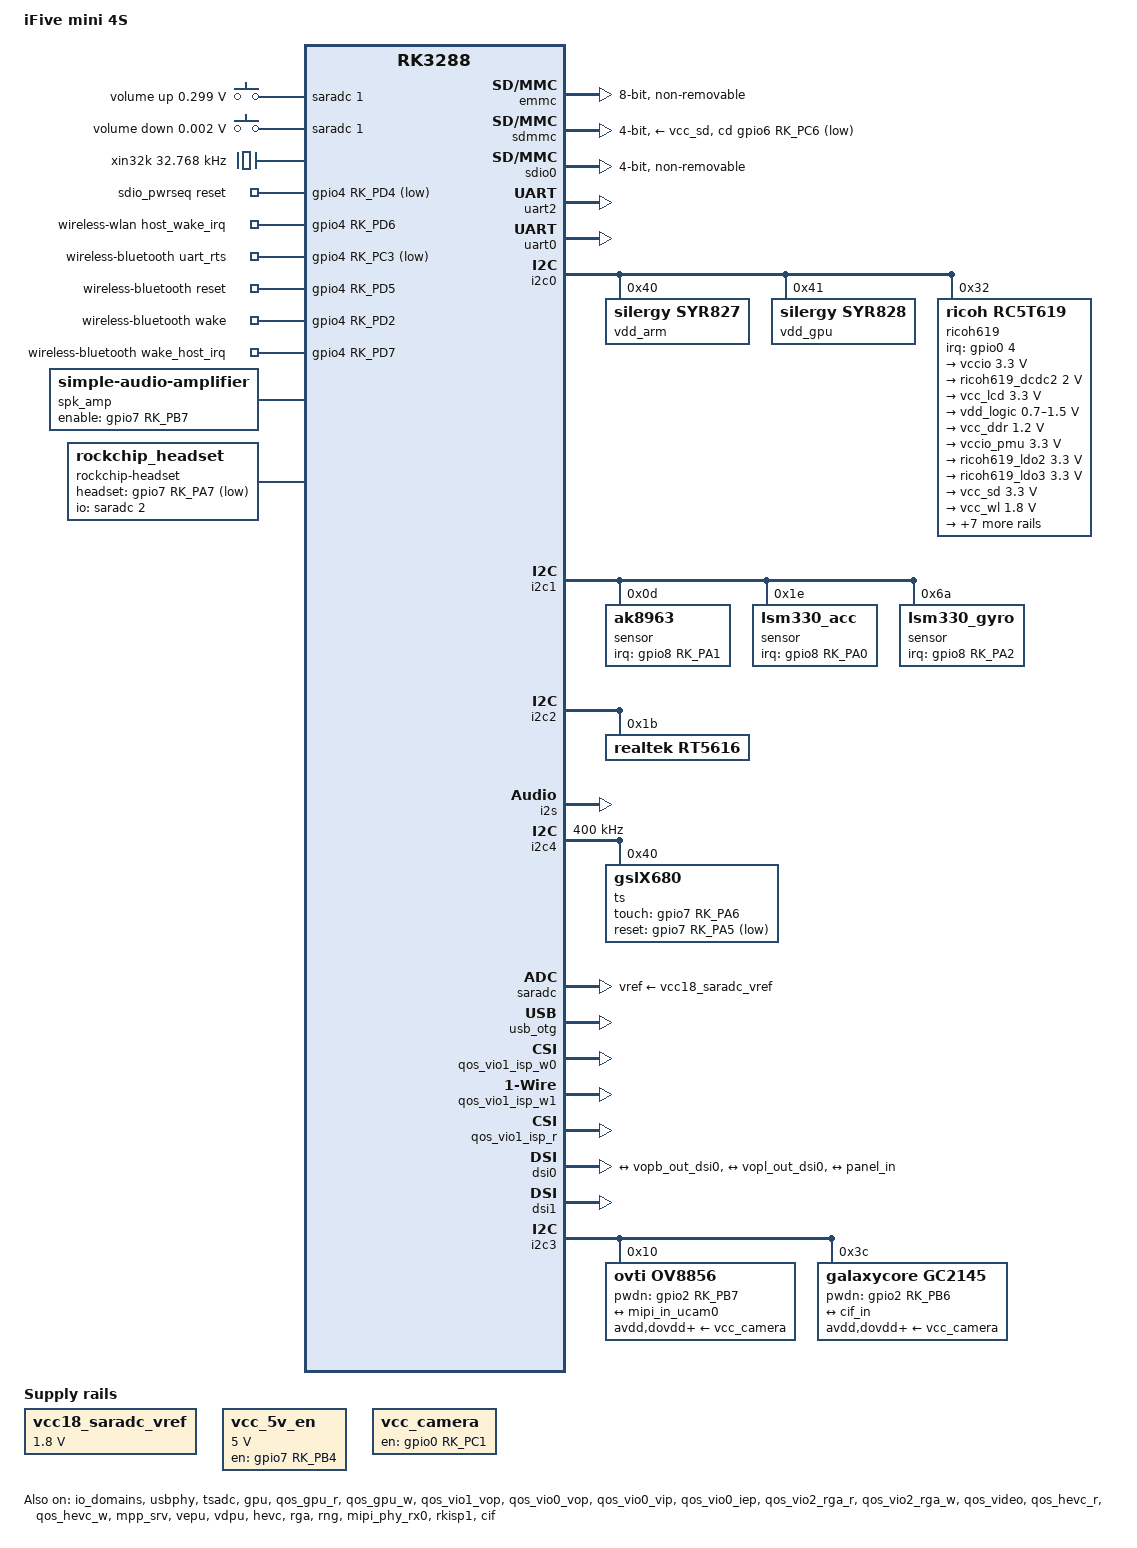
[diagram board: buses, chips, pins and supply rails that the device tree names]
// SPDX-License-Identifier: (GPL-2.0+ OR MIT)
/*
 * iFive mini 4S - Rockchip RK3288 tablet board
 *
 * Covers the board wiring the tablet needs: serial console, eMMC, PMIC,
 * USB, display (via rk3288-ifive-mini4s-display.dtsi), touch, keys, the
 * SAR ADC keypad and the AP6255 SDIO Wi-Fi.
 */

/dts-v1/;

#include <dt-bindings/gpio/gpio.h>
#include <dt-bindings/input/input.h>
#include <dt-bindings/pinctrl/rockchip.h>
#include <dt-bindings/interrupt-controller/irq.h>
#include <dt-bindings/sensor-dev.h>
#include "rk3288.dtsi"
#include "rk3288-ifive-mini4s-display.dtsi"

/ {
	model = "iFive mini 4S";
	compatible = "ifive,ifive-mini4s", "rockchip,rk3288";

	/*
	 * Stock mmc numbering.  Without mmcN aliases the host index follows
	 * probe (DT) order, so enabling sdmmc/sdio0 (below ff0f0000) turns the
	 * eMMC into mmcblk1 and blkdevparts=mmcblk0 / rkdump stop matching.
	 */
	aliases {
		mmc0 = &emmc;
		mmc1 = &sdmmc;
		mmc2 = &sdio0;
		mmc3 = &sdio1;
	};

	chosen {
		bootargs = "console=ttyFIQ0 androidboot.hardware=rk30board androidboot.boot_devices=ff0f0000.dwmmc androidboot.super_partition=system androidboot.selinux=permissive rkdump=/dev/mmcblk0:0x12000000:0x400000 rkwdt=1 rkwdt_stop=0 rkwdt_loader=1 blkdevparts=mmcblk0:4M@8M(uboot),4M@12M(misc),16M@16M(resource),16M@32M(kernel),32M@48M(boot),32M@80M(recovery),52M@112M(backup),128M@164M(cache),4M@292M(kpanic),1536M@296M(system),16M@1832M(metadata),64M@1848M(radical_update),-@1912M(userdata) loglevel=4 printk.time=1 rkdeadline=300 printk.devkmsg=on androidboot.storagemedia=emmc clk_ignore_unused rkwdt_sgrf=0x00420000 log_buf_len=1M androidboot.serialno=RK3288IFIVE01";
	};

	/* Framebuffer driver node used by the bootloader logo path. */
	fb {
		status = "okay";
		compatible = "rockchip,rk-fb";
		rockchip,disp-mode = <0>;
	};

	uboot-charge {
		status = "disabled";
		compatible = "rockchip,uboot-charge";
		rockchip,uboot-charge-on = <0>;
		rockchip,android-charge-on = <0>;
	};

	reserved-memory {
		ramoops@8000000 {
			compatible = "ramoops";
			reg = <0x0 0x8000000 0x0 0xf0000>;
			record-size = <0x10000>;
			console-size = <0x80000>;
			ftrace-size = <0x0>;
		};
	};

	/* 1.8 V reference for the SAR ADC, fixed rail. */
	vcc18_saradc_vref: vcc18-saradc-vref {
		compatible = "regulator-fixed";
		regulator-name = "saradc_vref_1v8";
		regulator-min-microvolt = <1800000>;
		regulator-max-microvolt = <1800000>;
		regulator-always-on;
	};

	/* 5 V rail, stock /5v_power_en: gpio7 pin 12 (PB4), active high. */
	vcc_5v_en: vcc-5v-en {
		compatible = "regulator-fixed";
		regulator-name = "vcc_5v";
		regulator-min-microvolt = <5000000>;
		regulator-max-microvolt = <5000000>;
		gpio = <&gpio7 RK_PB4 GPIO_ACTIVE_HIGH>;
		enable-active-high;
		regulator-always-on;
		regulator-boot-on;
	};

	/* Volume keys on the SAR ADC ladder. */
	adc-keys {
		compatible = "adc-keys";
		io-channels = <&saradc 1>;
		io-channel-names = "buttons";
		keyup-threshold-microvolt = <1800000>;

		vol-up {
			label = "volume up";
			linux,code = <KEY_VOLUMEUP>;
			press-threshold-microvolt = <0x48f4c>;
		};

		vol-down {
			label = "volume down";
			linux,code = <KEY_VOLUMEDOWN>;
			press-threshold-microvolt = <0x6de>;
		};
	};

	/* Board-level nodes the reference DTB has disabled. */
	arm-pmu {
		status = "disabled";
	};

	bus_intmem@ff700000 {
		status = "disabled";
	};

	sram@ff720000 {
		status = "disabled";
	};

	display-subsystem {
		status = "okay";
	};

	/*
	 * 32 kHz input from the RC5T619 (stock /clocks/xin32k, fixed).  Without
	 * it sclk_tsadc (and sclk_hdmi_cec, sclk_otg_adp) are orphans and the
	 * tsadc probe defers forever on its assigned-clocks.
	 */
	xin32k: xin32k {
		compatible = "fixed-clock";
		clock-frequency = <32768>;
		clock-output-names = "xin32k";
		#clock-cells = <0>;
	};

	/*
	 * AP6255 (BCM43455) WL_REG_ON on gpio4 PD4 (stock WIFI,poweren_gpio).
	 * Driven through mmc-pwrseq so the chip is powered when the
	 * non-removable sdio0 host scans; mmc_host_rescan() does not rescan
	 * non-removable hosts.  200 ms matches the stock bcmdhd power-up delay.
	 */
	sdio_pwrseq: sdio-pwrseq {
		compatible = "mmc-pwrseq-simple";
		pinctrl-names = "default";
		pinctrl-0 = <&wifi_enable_h>;
		reset-gpios = <&gpio4 RK_PD4 GPIO_ACTIVE_LOW>;
		post-power-on-delay-ms = <200>;
	};

	/* rfkill-wlan platform data: out-of-band host wake on gpio4 PD6. */
	wireless-wlan {
		compatible = "wlan-platdata";
		rockchip,grf = <&grf>;
		wifi_chip_type = "ap6255";
		WIFI,host_wake_irq = <&gpio4 RK_PD6 GPIO_ACTIVE_HIGH>;
		status = "okay";
	};

	/*
	 * AP6255 Bluetooth on uart0 (stock values).  rfkill-bt owns the RTS
	 * pin so it can drive it as GPIO while the controller powers up.
	 */
	wireless-bluetooth {
		compatible = "bluetooth-platdata";
		uart_rts_gpios = <&gpio4 RK_PC3 GPIO_ACTIVE_LOW>;
		pinctrl-names = "default", "rts_gpio";
		pinctrl-0 = <&uart0_rts>;
		pinctrl-1 = <&uart0_rts_gpio>;
		BT,reset_gpio = <&gpio4 RK_PD5 GPIO_ACTIVE_HIGH>;
		BT,wake_gpio = <&gpio4 RK_PD2 GPIO_ACTIVE_HIGH>;
		BT,wake_host_irq = <&gpio4 RK_PD7 GPIO_ACTIVE_HIGH>;
		status = "okay";
	};

	/*
	 * Speaker amplifier fed from the RT5616 LOUT pair; stock
	 * rt5616 spk-ctl-gpio = GPIO7_B7, active high.  Driven by DAPM so
	 * the amp is only on while a speaker path is powered.
	 */
	spk_amp: speaker-amplifier {
		compatible = "simple-audio-amplifier";
		enable-gpios = <&gpio7 RK_PB7 GPIO_ACTIVE_HIGH>;
		sound-name-prefix = "Speaker Amp";
	};

	/*
	 * RT5616 on i2s0.  The card name gives ALSA id "realtekrt5616co"
	 * (vendor 4.4 convention), which the vendor audio.primary.rk30board
	 * HAL matches against its "realtekrt5616c" speaker/mic entry; any
	 * other id leaves the HAL with card -1 and no PCM.
	 *
	 * That HAL hard-codes PCM device 2 for speaker playback and device 1
	 * for mic capture, so the same i2s0 <-> RT5616 pair is linked three
	 * times: pcm0 (generic/tinyalsa), pcm1 (HAL capture), pcm2 (HAL
	 * playback).  Only one stream per direction may run at a time.
	 */
	sound {
		compatible = "simple-audio-card";
		#address-cells = <1>;
		#size-cells = <0>;
		simple-audio-card,name = "realtek,rt5616-codec";
		simple-audio-card,mclk-fs = <256>;
		simple-audio-card,aux-devs = <&spk_amp>;
		simple-audio-card,widgets =
			"Microphone", "Microphone Jack",
			"Headphone", "Headphones",
			"Speaker", "Speaker";
		simple-audio-card,routing =
			"MIC1", "Microphone Jack",
			"MIC2", "Microphone Jack",
			"Microphone Jack", "micbias1",
			"Headphones", "HPOL",
			"Headphones", "HPOR",
			"Speaker Amp INL", "LOUTL",
			"Speaker Amp INR", "LOUTR",
			"Speaker", "Speaker Amp OUTL",
			"Speaker", "Speaker Amp OUTR";

		simple-audio-card,dai-link@0 {
			reg = <0>;
			format = "i2s";

			cpu {
				sound-dai = <&i2s>;
			};

			codec {
				sound-dai = <&rt5616>;
			};
		};

		simple-audio-card,dai-link@1 {
			reg = <1>;
			format = "i2s";

			cpu {
				sound-dai = <&i2s>;
			};

			codec {
				sound-dai = <&rt5616>;
			};
		};

		simple-audio-card,dai-link@2 {
			reg = <2>;
			format = "i2s";

			cpu {
				sound-dai = <&i2s>;
			};

			codec {
				sound-dai = <&rt5616>;
			};
		};
	};

	/*
	 * Stock rockchip_headset: insert on GPIO7_A7 (active low, pull-up),
	 * hook key on SAR ADC channel 2.
	 */
	rockchip-headset {
		compatible = "rockchip_headset";
		headset_gpio = <&gpio7 RK_PA7 GPIO_ACTIVE_LOW>;
		pinctrl-names = "default";
		pinctrl-0 = <&hp_det>;
		io-channels = <&saradc 2>;
	};
};

&cpu0 {
	cpu0-supply = <&vdd_arm>;
};

/*
 * Expose 1608 MHz (stock 3.10 vd_arm: 1608 MHz @1.35 V).  rk3288.dtsi has
 * opp-1608000000 at 1.35 V, but with rockchip,max-volt = 1.35 V the 1512 MHz
 * OPP already reaches max-volt, so rockchip_adjust_opp_by_irdrop() reports
 * safe_rate = 1512 MHz and rockchip_adjust_power_scale() (avs=0) deletes
 * everything above it.  1.40 V is the stock 3.10 vd_arm ceiling and below the
 * syr827 vdd_arm limit (1.5 V).  The max cell of every opp-microvolt stays
 * at 1.35 V; target voltages are raised to at least the stock vd_arm value
 * in every column (see the opp_table0 override below).
 */
&cpu_opp_table {
	rockchip,max-volt = <1400000>;
};

/*
 * CPU OPP targets raised to the stock 3.10 vd_arm floor where the
 * rk3288.dtsi value was lower (600 MHz 1.00 V, 816 MHz 1.10 V and the
 * L1..L3 columns at 1008..1608 MHz).  The driver selects the plain
 * opp-microvolt (L0) column for this bin (no leakage/bin/pvtm voltage
 * selectors present), but every column is kept at or above stock.
 * Stock has no 696 MHz point; 1.05 V is interpolated between 600 MHz 1.00 V
 * and 816 MHz 1.10 V.
 */
&cpu_opp_table {
	opp-600000000 {
		opp-microvolt = <1000000 1000000 1350000>;
		opp-microvolt-L0 = <1000000 1000000 1350000>;
		opp-microvolt-L1 = <1000000 1000000 1350000>;
		opp-microvolt-L2 = <1000000 1000000 1350000>;
		opp-microvolt-L3 = <1000000 1000000 1350000>;
	};
	opp-696000000 {
		opp-microvolt = <1050000 1050000 1350000>;
		opp-microvolt-L0 = <1050000 1050000 1350000>;
		opp-microvolt-L1 = <1050000 1050000 1350000>;
		opp-microvolt-L2 = <1050000 1050000 1350000>;
		opp-microvolt-L3 = <1050000 1050000 1350000>;
	};
	opp-816000000 {
		opp-microvolt = <1100000 1100000 1350000>;
		opp-microvolt-L0 = <1100000 1100000 1350000>;
		opp-microvolt-L1 = <1100000 1100000 1350000>;
		opp-microvolt-L2 = <1100000 1100000 1350000>;
		opp-microvolt-L3 = <1100000 1100000 1350000>;
	};
	opp-1008000000 {
		opp-microvolt = <1150000 1150000 1350000>;
		opp-microvolt-L0 = <1150000 1150000 1350000>;
		opp-microvolt-L1 = <1150000 1150000 1350000>;
		opp-microvolt-L2 = <1150000 1150000 1350000>;
		opp-microvolt-L3 = <1150000 1150000 1350000>;
	};
	opp-1200000000 {
		opp-microvolt = <1200000 1200000 1350000>;
		opp-microvolt-L0 = <1200000 1200000 1350000>;
		opp-microvolt-L1 = <1200000 1200000 1350000>;
		opp-microvolt-L2 = <1200000 1200000 1350000>;
		opp-microvolt-L3 = <1200000 1200000 1350000>;
	};
	opp-1416000000 {
		opp-microvolt-L2 = <1250000 1250000 1350000>;
		opp-microvolt-L3 = <1250000 1250000 1350000>;
	};
	opp-1512000000 {
		opp-microvolt-L2 = <1300000 1300000 1350000>;
		opp-microvolt-L3 = <1300000 1300000 1350000>;
	};
	opp-1608000000 {
		opp-microvolt-L2 = <1350000 1350000 1350000>;
		opp-microvolt-L3 = <1350000 1350000 1350000>;
	};
};

/*
 * NPLL 460 MHz instead of 500 MHz: the 1536x2048 dual-DSI panel needs a
 * 230 MHz dclk_vop0, which is NPLL / 2 (see &vopb).
 */
&cru {
	assigned-clock-rates =
			<594000000>, <460000000>,
			<300000000>, <150000000>,
			<75000000>, <300000000>,
			<150000000>, <75000000>,
			<594000000>, <297000000>,
			<200000000>;
};

/*
 * eMMC: 8 bit, 150 MHz, HS200.  The eMMC rails are fixed, so no vmmc or
 * vqmmc supply is described.
 */
&emmc {
	bus-width = <8>;
	cap-mmc-highspeed;
	mmc-hs200-1_8v;
	max-frequency = <150000000>;
	disable-wp;
	non-removable;
	pinctrl-names = "default";
	pinctrl-0 = <&emmc_clk &emmc_cmd &emmc_bus8>;
	status = "okay";
};

/*
 * SD slot (stock rksdmmc@ff0c0000): 4 bit, 50 MHz, no UHS, card detect
 * polled (broken-cd) as in stock, vmmc = LDO4.  The pads run from
 * vccio_sd (LDO8, 3.3 V), described in &io_domains as stock
 * sdmmc0-vdd-domain; stock has no vqmmc.  The mmc aliases keep the eMMC
 * at mmc0.
 */
&sdmmc {
	bus-width = <4>;
	cap-sd-highspeed;
	max-frequency = <50000000>;
	broken-cd;
	cd-gpios = <&gpio6 RK_PC6 GPIO_ACTIVE_LOW>;
	card-detect-delay = <200>;
	disable-wp;
	pinctrl-names = "default";
	pinctrl-0 = <&sdmmc_clk &sdmmc_cmd &sdmmc_cd &sdmmc_bus4>;
	vmmc-supply = <&vcc_sd>;
	status = "okay";
};

/* SDIO Wi-Fi (AP6255).  Stock: 4 bit, high speed, no UHS. */
&sdio0 {
	bus-width = <4>;
	cap-sd-highspeed;
	keep-power-in-suspend;
	mmc-pwrseq = <&sdio_pwrseq>;
	non-removable;
	supports-sdio;
	pinctrl-names = "default";
	pinctrl-0 = <&sdio0_bus4 &sdio0_cmd &sdio0_clk>;
	status = "okay";
};

/* Debug console. */
&uart2 {
	status = "okay";
};

/* AP6255 Bluetooth HCI UART (ttyS0); RTS is claimed by wireless-bluetooth. */
&uart0 {
	pinctrl-names = "default";
	pinctrl-0 = <&uart0_xfer &uart0_cts>;
	status = "okay";
};

/* PMIC bus: syr827 (vdd_arm), syr828 (vdd_gpu), rc5t619 (main PMIC). */
&i2c0 {
	status = "okay";

	vdd_arm: syr827@40 {
		compatible = "silergy,syr827";
		fcs,suspend-voltage-selector = <1>;
		reg = <0x40>;
		regulator-name = "vdd_arm";
		regulator-min-microvolt = <712500>;
		regulator-max-microvolt = <1500000>;
		regulator-always-on;
		regulator-boot-on;
		regulator-enable-ramp-delay = <300>;
		regulator-ramp-delay = <8000>;
	};

	vdd_gpu: syr828@41 {
		compatible = "silergy,syr828";
		fcs,suspend-voltage-selector = <1>;
		reg = <0x41>;
		regulator-name = "vdd_gpu";
		regulator-min-microvolt = <712500>;
		regulator-max-microvolt = <1500000>;
		regulator-always-on;
		regulator-boot-on;
		regulator-enable-ramp-delay = <300>;
		regulator-ramp-delay = <8000>;
	};

	/*
	 * Ricoh RC5T619.  drivers/mfd/rn5t618.c matches "ricoh,rc5t619" and
	 * drivers/regulator/rn5t618-regulator.c looks up the children of the
	 * "regulators" node by node name (DCDC1..5, LDO1..10, LDORTC1/2).
	 */
	ricoh619: pmic@32 {
		compatible = "ricoh,rc5t619";
		reg = <0x32>;
		interrupt-parent = <&gpio0>;
		interrupts = <4 IRQ_TYPE_LEVEL_LOW>;
		/* BC1.2 result for the VBUS feeding VADP sets the ADP limit. */
		extcon = <&usbphy>;
		system-power-controller;
		/*
		 * 32 kHz outputs as the vendor driver sets them (0x05 = 0x07):
		 * besides the SoC xin32k, the second output is the AP6255 LPO.
		 */
		ricoh,out32ken = <0x07>;

		regulators {
			vccio: DCDC1 {
				regulator-name = "vccio";
				regulator-min-microvolt = <3300000>;
				regulator-max-microvolt = <3300000>;
				regulator-always-on;
				regulator-boot-on;
			};

			DCDC2 {
				regulator-name = "ricoh619_dcdc2";
				regulator-min-microvolt = <2000000>;
				regulator-max-microvolt = <2000000>;
				regulator-always-on;
				regulator-boot-on;
			};

			vcc_lcd: DCDC3 {
				regulator-name = "vcc_lcd";
				regulator-min-microvolt = <3300000>;
				regulator-max-microvolt = <3300000>;
				regulator-always-on;
				regulator-boot-on;
			};

			vdd_logic: DCDC4 {
				regulator-name = "vdd_logic";
				regulator-min-microvolt = <700000>;
				regulator-max-microvolt = <1500000>;
				regulator-always-on;
				regulator-boot-on;
			};

			vcc_ddr: DCDC5 {
				regulator-name = "vcc_ddr";
				regulator-min-microvolt = <1200000>;
				regulator-max-microvolt = <1200000>;
				regulator-always-on;
				regulator-boot-on;
			};

			LDO1 {
				regulator-name = "vccio_pmu";
				regulator-min-microvolt = <3300000>;
				regulator-max-microvolt = <3300000>;
				regulator-always-on;
				regulator-boot-on;
			};

			LDO2 {
				regulator-name = "ricoh619_ldo2";
				regulator-min-microvolt = <3300000>;
				regulator-max-microvolt = <3300000>;
				regulator-always-on;
				regulator-boot-on;
			};

			LDO3 {
				regulator-name = "ricoh619_ldo3";
				regulator-min-microvolt = <3300000>;
				regulator-max-microvolt = <3300000>;
				regulator-always-on;
				regulator-boot-on;
			};

			vcc_sd: LDO4 {
				regulator-name = "vcc_sd";
				regulator-min-microvolt = <3300000>;
				regulator-max-microvolt = <3300000>;
				regulator-always-on;
				regulator-boot-on;
			};

			vcc_wl: LDO5 {
				regulator-name = "vcc_wl";
				regulator-min-microvolt = <1800000>;
				regulator-max-microvolt = <1800000>;
				regulator-always-on;
				regulator-boot-on;
			};

			/* Panel 1.8 V rail, referenced by the panel node. */
			ldo6: LDO6 {
				regulator-name = "lcd_18";
				regulator-min-microvolt = <1800000>;
				regulator-max-microvolt = <1800000>;
				regulator-always-on;
				regulator-boot-on;
			};

			LDO7 {
				regulator-name = "ricoh619_ldo7";
				regulator-min-microvolt = <1000000>;
				regulator-max-microvolt = <1000000>;
				regulator-always-on;
				regulator-boot-on;
			};

			vccio_sd: LDO8 {
				regulator-name = "vccio_sd";
				regulator-min-microvolt = <3300000>;
				regulator-max-microvolt = <3300000>;
				regulator-always-on;
				regulator-boot-on;
			};

			LDO9 {
				regulator-name = "ricoh619_ldo9";
				regulator-min-microvolt = <1000000>;
				regulator-max-microvolt = <1000000>;
				regulator-always-on;
				regulator-boot-on;
			};

			vcc_18: LDO10 {
				regulator-name = "vcc_18";
				regulator-min-microvolt = <1800000>;
				regulator-max-microvolt = <1800000>;
				regulator-always-on;
				regulator-boot-on;
			};

			LDORTC1 {
				regulator-name = "ricoh619_ldortc1";
				regulator-min-microvolt = <3300000>;
				regulator-max-microvolt = <3300000>;
				regulator-always-on;
				regulator-boot-on;
			};

			LDORTC2 {
				regulator-name = "ricoh619_ldortc2";
				regulator-min-microvolt = <3300000>;
				regulator-max-microvolt = <3300000>;
				regulator-always-on;
				regulator-boot-on;
			};
		};
	};
};

/*
 * Motion sensors (stock i2c@ff140000), Rockchip sensor framework, polled
 * (irq_enable 0) like stock.  Stock probes: lsm330 acc devid 0x40, ak8963
 * 0x48, lsm330 gyro 0xd4; the stock gs_mma8452@1d is not fitted.
 * Compatibles are the 4.19 i2c_device_id names (stock: gs_lsm330,
 * lsm330_gryo).
 */
&i2c1 {
	status = "okay";

	sensor@d {
		compatible = "ak8963";
		reg = <0x0d>;
		type = <SENSOR_TYPE_COMPASS>;
		irq-gpio = <&gpio8 RK_PA1 IRQ_TYPE_EDGE_RISING>;
		irq_enable = <0>;
		poll_delay_ms = <20>;
		layout = <7>;
	};

	sensor@1e {
		compatible = "lsm330_acc";
		reg = <0x1e>;
		type = <SENSOR_TYPE_ACCEL>;
		irq-gpio = <&gpio8 RK_PA0 IRQ_TYPE_LEVEL_LOW>;
		irq_enable = <0>;
		poll_delay_ms = <20>;
		layout = <6>;
	};

	sensor@6a {
		compatible = "lsm330_gyro";
		reg = <0x6a>;
		type = <SENSOR_TYPE_GYROSCOPE>;
		irq-gpio = <&gpio8 RK_PA2 IRQ_TYPE_LEVEL_LOW>;
		irq_enable = <0>;
		poll_delay_ms = <10>;
		layout = <6>;
	};
};

/* Audio codec bus: RT5616 at 0x1b (stock i2c@ff660000). */
&i2c2 {
	status = "okay";

	rt5616: codec@1b {
		compatible = "realtek,rt5616";
		reg = <0x1b>;
		#sound-dai-cells = <0>;
		clocks = <&cru SCLK_I2S0_OUT>;
		clock-names = "mclk";
		realtek,default-dac-routing;
		realtek,default-adc-routing;
	};
};

/* i2s0 with the MCLK output pin (GPIO6_B0) as in stock. */
&i2s {
	pinctrl-names = "default";
	pinctrl-0 = <&i2s0_bus &i2s0_mclk>;
	status = "okay";
};

/* Touch controller (gslX680) on I2C4. */
&i2c4 {
	status = "okay";
	/*
	 * The ts is the only slave.  400 kHz cuts the 44-byte frame read from
	 * ~5 ms (100 kHz default) to ~2 ms.
	 */
	clock-frequency = <400000>;

	ts@40 {
		compatible = "gslX680";
		reg = <0x40>;
		/* Flag 8 is the raw value from the reference DTB. */
		touch-gpio = <&gpio7 RK_PA6 8>;
		reset-gpio = <&gpio7 RK_PA5 GPIO_ACTIVE_LOW>;
		/* Stock reports X = panel y, Y = panel x (0..600 x 0..1024). */
		swap-xy = <1>;
		status = "okay";
	};
};

/* SAR ADC feeding the keypad, with the 1.8 V fixed reference. */
&saradc {
	vref-supply = <&vcc18_saradc_vref>;
	status = "okay";
};

/*
 * Stock apio3-vdd-domain: the sdio0 pads (APIO3) run from vcc_wl (LDO5,
 * 1.8 V).  Stock sdmmc0-vdd-domain: the SD pads run from vccio_sd (LDO8,
 * 3.3 V).  DVP (cif data, cif_clkout, camera pwdn, i2c3): 1.8 V rail
 * (stock "vcc18_cif"); the stock camsys driver sets GRF_IO_VSEL dvp_v18sel
 * at camera power-up because cam_board.xml DOVDD is 1.8 V, and rk3288-th804
 * uses vcc_18 here as well.  The other domains keep their bootloader state.
 */
&io_domains {
	dvp-supply = <&vcc_18>;
	wifi-supply = <&vcc_wl>;
	sdcard-supply = <&vccio_sd>;
	status = "okay";
};

&pinctrl {
	sdio-pwrseq {
		wifi_enable_h: wifi-enable-h {
			rockchip,pins = <4 RK_PD4 RK_FUNC_GPIO &pcfg_pull_none>;
		};
	};

	headset {
		hp_det: hp-det {
			rockchip,pins = <7 RK_PA7 RK_FUNC_GPIO &pcfg_pull_up>;
		};
	};

	bt {
		uart0_rts_gpio: uart0-rts-gpio {
			rockchip,pins = <4 RK_PC3 RK_FUNC_GPIO &pcfg_pull_none>;
		};
	};
};

/*
 * USB.  The PHY lives in the GRF (usbphy); usb_otg is the only enabled
 * controller.
 */
&usbphy {
	status = "okay";
};

&usb_otg {
	status = "okay";
};

&usb_host0_ehci {
	status = "disabled";
};

&usb_host0_ohci {
	status = "disabled";
};

&usb_host1 {
	status = "disabled";
};

/* Disabled in the reference DTB. */
&dmac_peri {
	status = "disabled";
};

/* i2s0 TX/RX DMA (stock pdma@ffb20000 is enabled). */
&dmac_bus_s {
	status = "okay";
};

&dmc {
	status = "disabled";
};

&optee {
	status = "disabled";
};

&power {
	status = "okay";
};

&reboot_mode {
	status = "disabled";
};

&rockchip_system_monitor {
	status = "disabled";
};

&thermal_zones {
	status = "okay";
};

/*
 * Stock 3.10 tsadc: tsadc-ht-reset-cru = <1>, tsadc-ht-pull-gpio = <0>,
 * tsadc-ht-temp = <120>: over-temperature resets through the CRU, the
 * OTP_OUT pin (gpio0 PB2) is not used to signal the PMIC.
 */
&tsadc {
	rockchip,hw-tshut-mode = <0>; /* tshut mode 0:CRU 1:GPIO */
	rockchip,hw-tshut-polarity = <0>; /* tshut polarity 0:LOW 1:HIGH */
	status = "okay";
};

&timer {
	status = "disabled";
};

&noc {
	status = "disabled";
};

&nocp_core {
	status = "disabled";
};

&nocp_gpu {
	status = "disabled";
};

&nocp_peri {
	status = "disabled";
};

&nocp_vpu {
	status = "disabled";
};

&nocp_vio0 {
	status = "disabled";
};

&nocp_vio1 {
	status = "disabled";
};

&nocp_vio2 {
	status = "disabled";
};

&pvtm {
	status = "disabled";
};

/* Enabled QoS blocks. */
/*
 * Mali-T764: midgard kbase looks up the "mali" supply
 * (mali_kbase_core_linux.c regulator_get_optional(dev, "mali"),
 * mali_kbase_config_rk.c rockchip_init_opp_table(..., "mali")) and
 * scales vdd_gpu along gpu_opp_table from rk3288.dtsi.
 */
&gpu {
	mali-supply = <&vdd_gpu>;
	/*
	 * simple_ondemand, sampled every 10 ms (kbase default is 20 ms): jump
	 * to max above 25 % busy, hold the current rate down to 10 % busy and
	 * only then scale proportionally, so a swipe does not fall back to
	 * 198 MHz between frames and cost a full sample period to ramp up.
	 */
	polling-ms = <10>;
	upthreshold = <25>;
	downdifferential = <15>;
	status = "okay";
};

/*
 * kbase sets the rate of aclk_gpu, whose parent sclk_gpu can only divide
 * CPLL (384 MHz) or GPLL (594 MHz) here: NPLL is reserved for dclk_vop0 and
 * usbphy480m is gated with the USB PHY (clk-rk3288.c restricts the mux).
 * The rk3288.dtsi 200/300/420/500 MHz OPPs are not reachable, so list the
 * exact rates; voltages follow the stock 3.10 clk_gpu table
 * (200 MHz 950 mV, 300 MHz 1000 mV, 400 MHz 1100 mV).
 */
&gpu_opp_table {
	status = "okay";
	/delete-node/ opp-200000000;
	/delete-node/ opp-300000000;
	/delete-node/ opp-420000000;
	/delete-node/ opp-500000000;

	opp-198000000 {
		opp-hz = /bits/ 64 <198000000>;
		opp-microvolt = <950000>;
	};
	opp-297000000 {
		opp-hz = /bits/ 64 <297000000>;
		opp-microvolt = <1000000>;
	};
	opp-384000000 {
		opp-hz = /bits/ 64 <384000000>;
		opp-microvolt = <1100000>;
	};
	/*
	 * gpll/1.  Stock 3.10 / rk3288.dtsi run 500 MHz at 1.15 / 1.20 V, so
	 * 594 MHz takes 1.25 V (vdd_gpu syr828 max 1.5 V).  No rockchip,max-volt
	 * or leakage cell here; bin-scale 55 (600 MHz) keeps it (scale 56).
	 */
	opp-594000000 {
		opp-hz = /bits/ 64 <594000000>;
		opp-microvolt = <1250000>;
	};
};

&vopb_mmu {
	status = "okay";
};

&qos_gpu_r {
	status = "okay";
};

&qos_gpu_w {
	status = "okay";
};

&qos_vio1_vop {
	status = "okay";
};

&qos_vio1_isp_w0 {
	status = "okay";
};

&qos_vio1_isp_w1 {
	status = "okay";
};

&qos_vio0_vop {
	status = "okay";
};

&qos_vio0_vip {
	status = "okay";
};

&qos_vio0_iep {
	status = "okay";
};

&qos_vio2_rga_r {
	status = "okay";
};

&qos_vio2_rga_w {
	status = "okay";
};

&qos_vio1_isp_r {
	status = "okay";
};

&qos_video {
	status = "okay";
};

&qos_hevc_r {
	status = "okay";
};

&qos_hevc_w {
	status = "okay";
};

/* Video codecs: MPP service (/dev/mpp_service) for vendor libmpp. */
&mpp_srv {
	status = "okay";
};

&vepu {
	status = "okay";
};

&vdpu {
	status = "okay";
};

&vpu_mmu {
	status = "okay";
};

&hevc {
	status = "okay";
};

&hevc_mmu {
	status = "okay";
};

/* RGA2 (/dev/rga) for librga/hwcomposer; uses its internal MMU, no iommus. */
&rga {
	compatible = "rockchip,rga2";
	clocks = <&cru ACLK_RGA>, <&cru HCLK_RGA>, <&cru SCLK_RGA>;
	clock-names = "aclk_rga", "hclk_rga", "clk_rga";
	assigned-clocks = <&cru ACLK_RGA>, <&cru SCLK_RGA>;
	assigned-clock-rates = <300000000>, <300000000>;
	status = "okay";
};

/*
 * Display: VOPB feeds DSI0 (4 channels); DSI1 is enabled but has no
 * endpoints.  The VOP-side DSI1 endpoints are removed.
 */
/*
 * support-multi-area (as rk3288-android.dtsi): vop_win_init() then exposes
 * win2/win3 areas 1..3 as extra planes sharing the parent SHARE_ID, which
 * the vendor HWC needs to put combined layer groups (StatusBar + NavBar)
 * on one multi-area window instead of GLES (reports/HwcPolicy.md).
 */
&vopb {
	rockchip,grf = <&grf>;
	support-multi-area;
};

&vopl {
	support-multi-area;
};

&vopb_out {
	/delete-node/ endpoint@4;
};

&vopl_out {
	/delete-node/ endpoint@4;
};

&dsi0 {
	status = "okay";
	rockchip,dual-channel = <&dsi1>;
	rockchip,lane-rate = <0x384>;

	ports {
		/delete-node/ port;

		port@0 {
			reg = <0>;
			#address-cells = <1>;
			#size-cells = <0>;

			dsi0_in_vopb: endpoint@0 {
				reg = <0>;
				remote-endpoint = <&vopb_out_dsi0>;
			};

			dsi0_in_vopl: endpoint@1 {
				reg = <1>;
				remote-endpoint = <&vopl_out_dsi0>;
			};
		};

		port@1 {
			reg = <1>;

			dsi0_out_panel: endpoint {
				remote-endpoint = <&panel_in>;
			};
		};
	};
};

&dsi1 {
	status = "okay";

	ports {
		/delete-node/ port;

		port {
			#address-cells = <1>;
			#size-cells = <0>;
		};
	};
};

&rng {
	status = "okay";
};

/*
 * Cameras (stock /system/etc/cam_board.xml, same wiring as
 * rk3288-th804-avb.dts): both sensors on i2c3, 24 MHz xvclk from
 * cif_clkout (SCLK_VIP_OUT), shared power enable GPIO0_C1 (active high).
 * Back: OV8856, 2-lane MIPI through mipi_phy_rx0, pwdn GPIO2_B7 (stock
 * pwdn active=0; the driver drives it to 1 to run).  Front: GC2145, 8-bit
 * DVP on cif_data2..9 into the ISP parallel port, pwdn GPIO2_B6 (stock
 * active=1; the driver drives it to 0 to run).  The DVP endpoints carry
 * hsync/vsync/pclk properties so v4l2-fwnode reports a parallel bus
 * (no flags means BT656); the values match gc2145_g_mbus_config().
 */

/*
 * Back camera path (ov8856 -> mipi_phy_rx0 -> rkisp1 endpoint@0).  The
 * OV8856 on this board answers at I2C 0x10 (SID strapped high), not the
 * default 0x36 (Day6-53 camera probe: 0x36 NACK, 0x10 ACK with pwdn GPIO2_B7
 * high and cif_clkout 24 MHz).  It is listed before the GC2145 so it probes
 * first and gets the first media entity (the HAL numbers cameras in entity
 * order: camera 0 = ov8856 back, camera 1 = gc2145 front).
 */
#define IFIVE_BACK_CAMERA 1
/ {
	vcc_camera: vcc-camera-regulator {
		compatible = "regulator-fixed";
		gpio = <&gpio0 RK_PC1 GPIO_ACTIVE_HIGH>;
		pinctrl-names = "default";
		pinctrl-0 = <&camera_pwr>;
		regulator-name = "vcc_camera";
		enable-active-high;
		regulator-always-on;
		regulator-boot-on;
	};
};

&pinctrl {
	camera {
		camera_pwr: camera-pwr {
			rockchip,pins = <0 RK_PC1 RK_FUNC_GPIO &pcfg_pull_none>;
		};
	};
};

&i2c3 {
	status = "okay";

#if IFIVE_BACK_CAMERA
	ov8856: ov8856@10 {
		compatible = "ovti,ov8856";
		reg = <0x10>;
		clocks = <&cru SCLK_VIP_OUT>;
		clock-names = "xvclk";
		pwdn-gpios = <&gpio2 RK_PB7 GPIO_ACTIVE_HIGH>;
		avdd-supply = <&vcc_camera>;
		dovdd-supply = <&vcc_camera>;
		dvdd-supply = <&vcc_camera>;
		rockchip,camera-module-index = <0>;
		rockchip,camera-module-facing = "back";
		rockchip,camera-module-name = "CameraKing";
		rockchip,camera-module-lens-name = "Largan-9569A2";

		port {
			ov8856_out: endpoint {
				remote-endpoint = <&mipi_in_ucam0>;
				data-lanes = <1 2>;
			};
		};
	};
#endif

	gc2145: gc2145@3c {
		compatible = "galaxycore,gc2145";
		reg = <0x3c>;
		clocks = <&cru SCLK_VIP_OUT>;
		clock-names = "xvclk";
		pwdn-gpios = <&gpio2 RK_PB6 GPIO_ACTIVE_HIGH>;
		avdd-supply = <&vcc_camera>;
		dovdd-supply = <&vcc_camera>;
		dvdd-supply = <&vcc_camera>;
		rockchip,camera-module-index = <1>;
		rockchip,camera-module-facing = "front";
		rockchip,camera-module-name = "CameraKing";
		rockchip,camera-module-lens-name = "Largan";

		port {
			gc2145_out: endpoint {
				remote-endpoint = <&cif_in>;
				bus-width = <8>;
				hsync-active = <1>;
				vsync-active = <0>;
				pclk-sample = <1>;
			};
		};
	};

};

#if IFIVE_BACK_CAMERA
&mipi_phy_rx0 {
	status = "okay";

	ports {
		#address-cells = <1>;
		#size-cells = <0>;

		port@0 {
			reg = <0>;
			#address-cells = <1>;
			#size-cells = <0>;

			mipi_in_ucam0: endpoint@1 {
				reg = <1>;
				remote-endpoint = <&ov8856_out>;
				data-lanes = <1 2>;
			};
		};

		port@1 {
			reg = <1>;
			#address-cells = <1>;
			#size-cells = <0>;

			dphy_rx_out: endpoint@0 {
				reg = <0>;
				remote-endpoint = <&isp_mipi_in>;
			};
		};
	};
};
#endif

/*
 * rockchip,grf: only used by rkisp1 for ISP V12/V13 DVP width, set to drop
 * the probe warning.  No assigned clock for SCLK_VIP_OUT: CLKGATE3[7] is the
 * cif_clkout output gate but the clock driver models it on vip_src, so an
 * xin24m parent would keep the pad gated; the sensors set 24 MHz.
 */
&rkisp1 {
	pinctrl-names = "default";
	/*
	 * CIF experiment: rkisp1 keeps only the MIPI path and owns isp_mipi
	 * (cif_clkout, shared by both sensors); the DVP pins belong to &cif.
	 */
	pinctrl-0 = <&isp_mipi>;
	rockchip,grf = <&grf>;
	/*
	 * OV8856 keeps BLC target 0x4003=0x40 (256 in the 12-bit ISP domain)
	 * but the vendor stand-in IQ file sends fixed BLS 64: add the missing
	 * 192 to every fixed BLS value (drop if the IQ file carries 256).
	 */
	rockchip,bls-offset = <192>;
	status = "okay";

	port {
		#address-cells = <1>;
		#size-cells = <0>;

#if IFIVE_BACK_CAMERA
		isp_mipi_in: endpoint@0 {
			reg = <0>;
			remote-endpoint = <&dphy_rx_out>;
		};
#endif
	};
};

/*
 * CIF experiment: gc2145 on VIP (ff950000), no ISP.  cif_data0..7 =
 * isp_dvp_d0d1 + isp_dvp_d2d9 (the d2d9 group also muxes vsync/href/pclk).
 * isp_mipi (cif_clkout) is NOT listed here: pinctrl allows one owner per
 * pin and rkisp1 already holds it.  No iommus: VIP uses the default 16 MiB
 * CMA pool (non-iommu dma-contig path), no extra reserved-memory needed.
 */
&cif {
	pinctrl-names = "default";
	pinctrl-0 = <&isp_dvp_d0d1 &isp_dvp_d2d9>;
	rockchip,dvp-data-shift = <2>;
	status = "okay";

	port {
		cif_in: endpoint {
			remote-endpoint = <&gc2145_out>;
			bus-width = <8>;
			hsync-active = <1>;
			vsync-active = <0>;
			pclk-sample = <1>;
		};
	};
};

&isp_mmu {
	status = "okay";
};
